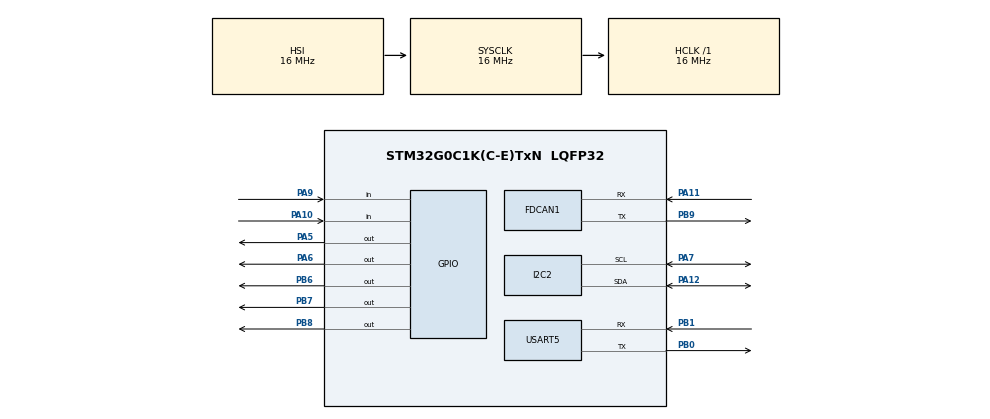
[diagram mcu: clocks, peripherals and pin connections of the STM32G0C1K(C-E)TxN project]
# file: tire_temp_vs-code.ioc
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FDCAN1.CalculateBaudRateNominal=1000000
FDCAN1.CalculateTimeBitNominal=1000
FDCAN1.CalculateTimeQuantumNominal=62.5
FDCAN1.NominalPrescaler=1
FDCAN1.NominalTimeSeg1=11
FDCAN1.NominalTimeSeg2=4
I2C2.Timing=0x00503D58
Mcu.Family=STM32G0
Mcu.Name=STM32G0C1K(C-E)TxN
Mcu.Package=LQFP32
NVIC.I2C2_3_IRQn=true\:0\:0\:false\:false\:true\:true\:true\:true
NVIC.TIM2_IRQn=true\:3\:0\:false\:false\:true\:false\:true\:true
NVIC.TimeBase=TIM2_IRQn
NVIC.TimeBaseIP=TIM2
PA10.Signal=GPIO_Input
PA11\ [PA9].Mode=FDCAN_Activate
PA11\ [PA9].Signal=FDCAN1_RX
PA12\ [PA10].GPIO_Pu=GPIO_PULLUP
PA12\ [PA10].Mode=I2C
PA12\ [PA10].Signal=I2C2_SDA
PA13.Mode=Serial_Wire
PA13.Signal=SYS_SWDIO
PA14-BOOT0.Mode=Serial_Wire
PA14-BOOT0.Signal=SYS_SWCLK
PA5.Signal=GPIO_Output
PA6.Signal=GPIO_Output
PA7.GPIO_Pu=GPIO_PULLUP
PA7.Mode=I2C
PA7.Signal=I2C2_SCL
PA9.Signal=GPIO_Input
PB0.Mode=Asynchronous
PB0.Signal=USART5_TX
PB1.Mode=Asynchronous
PB1.Signal=USART5_RX
PB6.Signal=GPIO_Output
PB7.Signal=GPIO_Output
PB8.Signal=GPIO_Output
PB9.Mode=FDCAN_Activate
PB9.Signal=FDCAN1_TX
PC14-OSC32_IN\ (PC14).Mode=LSE-External-Oscillator
PC14-OSC32_IN\ (PC14).Signal=RCC_OSC32_IN
PC15-OSC32_OUT\ (PC15).Mode=LSE-External-Oscillator
PC15-OSC32_OUT\ (PC15).Signal=RCC_OSC32_OUT
ProjectManager.HeapSize=0x200
ProjectManager.StackSize=0x400
ProjectManager.TargetToolchain=CMake
RCC.ADCFreq_Value=16000000
RCC.AHBFreq_Value=16000000
RCC.CortexFreq_Value=16000000
RCC.EXTERNAL_CLOCK_VALUE=48000
RCC.HCLKFreq_Value=16000000
RCC.HSE_VALUE=8000000
RCC.HSI48_VALUE=48000000
RCC.HSI_VALUE=16000000
RCC.SYSCLKFreq_VALUE=16000000
RCC.USBFreq_Value=48000000
RCC.VCOOutputFreq_Value=128000000
USART5.VirtualMode=VM_ASYNC
VP_LPTIM1_VS_LPTIM_counterModeInternalClock.Mode=Counts__internal_clock_event_00
VP_SYS_VS_DBSignals.Mode=DisableDeadBatterySignals
VP_SYS_VS_tim2.Mode=TIM2
VP_TIM1_VS_ClockSourceITR.Mode=TriggerSource_ITR0
board=custom

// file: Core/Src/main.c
/* USER CODE BEGIN Header */
/**
  ******************************************************************************
  * @file           : main.c
  * @brief          : Main program body
  ******************************************************************************
  * @attention
  *
  * Copyright (c) 2026 STMicroelectronics.
  * All rights reserved.
  *
  * This software is licensed under terms that can be found in the LICENSE file
  * in the root directory of this software component.
  * If no LICENSE file comes with this software, it is provided AS-IS.
  *
  ******************************************************************************
  */
/* USER CODE END Header */
#include "main.h"
#include "fdcan.h"
#include "i2c.h"
#include "lptim.h"
#include "stm32g0xx_hal_i2c.h"
#include "tim.h"
#include "usart.h"
#include "gpio.h"

/* USER CODE BEGIN Includes */
#include <math.h>
/* USER CODE END Includes */

/* USER CODE BEGIN PTD */
#include "MLX90621_API.h"
#include "MLX90621_I2C_Driver.h"

// Structure to hold values extracted from EEPROM
typedef struct {
    uint8_t VTH_L, VTH_H;
    uint8_t KT1_L, KT1_H;
    uint8_t KT2_L, KT2_H;
    uint8_t KT_scale; // Address 0xD2
} MLX_EEPROM_Ta_Coeffs;
/* USER CODE END PTD */

/* USER CODE BEGIN PD */
#define MLX_EEPROM_SA    0x50  // Slave Address for EEPROM
#define MLX_I2C_TIMEOUT  1000  // 1 second timeout
#define MLX_RAM_SA       (0x60 << 1) // Slave Address 0x60 shifted for HAL
#define CMD_READ_RAM     0x02
#define I2C_TIMEOUT      100

static const float emissivity = 0.98f;
static const float tr = 15.0f;

static uint8_t mlx90621ToAverage[8] = {0};
static uint8_t eeMLX90621[256]; // The 256-byte EEPROM dump array
static paramsMLX90621 mlx90621;
static uint16_t mlx90621Frame[66];
static float mlx90621To[64];
/* USER CODE END PD */

void SystemClock_Config(void);
/* USER CODE BEGIN PFP */
void Melexis_Initialize(void);
uint16_t MLX90621_ReadPTAT(void);
uint16_t MLX90621_ReadCompensationPixel(void);
void MLX90621_ReadWholeFrame(uint16_t* frameData);
int16_t CheckSign(uint16_t value, uint16_t bit_length);
float Calculate_Ta(uint16_t ptat_data, MLX_EEPROM_Ta_Coeffs *eeprom, uint8_t config_res);
/* USER CODE END PFP */

/* USER CODE BEGIN 0 */

// --- Sensor Initialization ---
void Melexis_Initialize(void)
{
    // Wait at least 5ms after POR release
    HAL_Delay(5);

    // 1. Read the whole EEPROM (SA = 0x50) using Mem_Read.
    // It's exactly 256 bytes, so no endianness swapping is needed for the raw dump.
    HAL_I2C_Mem_Read(&hi2c2, (uint16_t)(MLX_EEPROM_SA << 1), 0x00, I2C_MEMADD_SIZE_8BIT, eeMLX90621, 256, MLX_I2C_TIMEOUT);

    // 2. Write the oscillator trimming value (Command = 0x04, SA = 0x60)
    uint8_t trim_val = eeMLX90621[0xF7];
    uint8_t trim_payload[5];
    trim_payload[0] = 0x04;                        // Command
    trim_payload[1] = trim_val - 0xAA;             // LSByte check
    trim_payload[2] = trim_val;                    // LSByte
    trim_payload[3] = 0x00 - 0xAA;                 // MSByte check
    trim_payload[4] = 0x00;                        // MSByte

    HAL_I2C_Master_Transmit(&hi2c2, MLX_RAM_SA, trim_payload, 5, MLX_I2C_TIMEOUT);

    // 3. Write configuration register (Command = 0x03, SA = 0x60)
    uint8_t cfg_lsb = eeMLX90621[0xF5];
    uint8_t cfg_msb = eeMLX90621[0xF6];
    uint8_t cfg_payload[5];
    cfg_payload[0] = 0x03;                         // Command
    cfg_payload[1] = cfg_lsb - 0x55;               // LSByte check
    cfg_payload[2] = cfg_lsb;                      // LSbyte
    cfg_payload[3] = cfg_msb - 0x55;               // MSByte check
    cfg_payload[4] = cfg_msb;                      // MSbyte

    HAL_I2C_Master_Transmit(&hi2c2, MLX_RAM_SA, cfg_payload, 5, MLX_I2C_TIMEOUT);
}

// --- Read PTAT Data (Interrupt Mode with Repeated Start) ---
uint16_t MLX90621_ReadPTAT(void)
{
    uint8_t cmd[4] = {CMD_READ_RAM, 0x40, 0x00, 0x01};
    uint8_t rx_buf[2];

    // Wait until I2C bus is free
    while (HAL_I2C_GetState(&hi2c2) != HAL_I2C_STATE_READY);

    // Transmit command and KEEP the bus locked (No STOP condition)
    HAL_I2C_Master_Seq_Transmit_IT(&hi2c2, MLX_RAM_SA, cmd, 4, I2C_FIRST_FRAME);

    // Wait for the transmission to finish
    while (HAL_I2C_GetState(&hi2c2) != HAL_I2C_STATE_READY);

    // Repeated start, read data, and release the bus (STOP condition)
    HAL_I2C_Master_Seq_Receive_IT(&hi2c2, MLX_RAM_SA, rx_buf, 2, I2C_LAST_FRAME);

    // Wait for the reception to finish before processing the array
    while (HAL_I2C_GetState(&hi2c2) != HAL_I2C_STATE_READY);

    return (uint16_t)((rx_buf[1] << 8) | rx_buf[0]);
}

// --- Read Compensation Pixel Data (Interrupt Mode) ---
uint16_t MLX90621_ReadCompensationPixel(void)
{
    uint8_t cmd[4] = {CMD_READ_RAM, 0x41, 0x00, 0x01};
    uint8_t rx_buf[2];

    while (HAL_I2C_GetState(&hi2c2) != HAL_I2C_STATE_READY);
    HAL_I2C_Master_Seq_Transmit_IT(&hi2c2, MLX_RAM_SA, cmd, 4, I2C_FIRST_FRAME);

    while (HAL_I2C_GetState(&hi2c2) != HAL_I2C_STATE_READY);
    HAL_I2C_Master_Seq_Receive_IT(&hi2c2, MLX_RAM_SA, rx_buf, 2, I2C_LAST_FRAME);

    while (HAL_I2C_GetState(&hi2c2) != HAL_I2C_STATE_READY);

    return (uint16_t)((rx_buf[1] << 8) | rx_buf[0]);
}

// --- Read Whole IR Frame (Interrupt Mode) ---
void MLX90621_ReadWholeFrame(uint16_t* frameData)
{
    uint8_t cmd[4] = {CMD_READ_RAM, 0x00, 0x01, 0x40};
    uint8_t rx_buf[128]; // 64 pixels * 2 bytes each

    while (HAL_I2C_GetState(&hi2c2) != HAL_I2C_STATE_READY);
    HAL_I2C_Master_Seq_Transmit_IT(&hi2c2, MLX_RAM_SA, cmd, 4, I2C_FIRST_FRAME);

    while (HAL_I2C_GetState(&hi2c2) != HAL_I2C_STATE_READY);
    HAL_I2C_Master_Seq_Receive_IT(&hi2c2, MLX_RAM_SA, rx_buf, 128, I2C_LAST_FRAME);

    while (HAL_I2C_GetState(&hi2c2) != HAL_I2C_STATE_READY);

    for (int i = 0; i < 64; i++) {
        frameData[i] = (uint16_t)((rx_buf[i*2+1] << 8) | rx_buf[i*2]);
    }
}

// --- Check Sign for 2's Complement ---
int16_t CheckSign(uint16_t value, uint16_t bit_length) {
    uint16_t sign_bit = 1 << (bit_length - 1);
    if (value & sign_bit) {
        return (int16_t)(value - (1 << bit_length));
    }
    return (int16_t)value;
}

// --- Calculate Ta ---
float Calculate_Ta(uint16_t ptat_data, MLX_EEPROM_Ta_Coeffs *eeprom, uint8_t config_res)
{
    uint8_t kt1_scale_bits = (eeprom->KT_scale & 0xF0) >> 4;
    uint8_t kt2_scale_bits = (eeprom->KT_scale & 0x0F);

    int16_t vth_raw = (eeprom->VTH_H << 8) | eeprom->VTH_L;
    int16_t kt1_raw = (eeprom->KT1_H << 8) | eeprom->KT1_L;
    int16_t kt2_raw = (eeprom->KT2_H << 8) | eeprom->KT2_L;

    float vth_25 = (float)vth_raw;
    float kt1 = (float)kt1_raw;
    float kt2 = (float)kt2_raw;

    // Correctly scale resolution according to datasheet
    float res_scale = pow(2, 3 - config_res);

    vth_25 = vth_25 / res_scale;
    kt1 = kt1 / (pow(2, kt1_scale_bits) * res_scale);
    kt2 = kt2 / (pow(2, kt2_scale_bits + 10) * res_scale);

    float ptat = (float)ptat_data;

    float sqr_term = (kt1 * kt1) - (4.0f * kt2 * (vth_25 - ptat));
    float ta = (-kt1 + sqrt(sqr_term)) / (2.0f * kt2);
    ta += 25.0f;

    return ta;
}

void Calculate_To_All_Pixels(uint16_t *ir_frame_raw, float current_Ta, uint16_t comp_pixel_raw, uint8_t *eeprom, uint8_t config_res, float *pixel_temp_obj)
{
    // 1. Calculate Resolution Scale
    double res_scale = pow(2.0, 3.0 - config_res); //

    // 2. Extract and Process Common EEPROM Calibration Constants
    int16_t a_common_raw = (int16_t)((eeprom[0xD1] << 8) | eeprom[0xD0]); //

    int16_t a_cp_raw = (int16_t)((eeprom[0xD4] << 8) | eeprom[0xD3]); //
    double a_cp = (double)a_cp_raw / res_scale; //

    int8_t b_cp_raw = (int8_t)eeprom[0xD5]; //

    uint16_t alpha_cp_raw = (uint16_t)((eeprom[0xD7] << 8) | eeprom[0xD6]); //

    int8_t tgc_raw = (int8_t)eeprom[0xD8]; //
    double tgc = (double)tgc_raw / 32.0; //

    uint8_t delta_a_scale = (eeprom[0xD9] & 0xF0) >> 4; //
    uint8_t b_i_scale = eeprom[0xD9] & 0x0F; //

    uint16_t alpha_0_raw = (uint16_t)((eeprom[0xE1] << 8) | eeprom[0xE0]); //
    uint8_t alpha_0_scale = eeprom[0xE2]; //
    uint8_t delta_alpha_scale = eeprom[0xE3]; //

    uint16_t emissivity_raw = (uint16_t)((eeprom[0xE5] << 8) | eeprom[0xE4]); //
    double emissivity = (double)emissivity_raw / 32768.0; //

    int16_t k_sta_raw = (int16_t)((eeprom[0xE7] << 8) | eeprom[0xE6]); //
    double k_sta = (double)k_sta_raw / 1048576.0; // 2^20

    int8_t k_s4_raw = (int8_t)eeprom[0xC4]; //
    uint8_t k_s_scale = eeprom[0xC0] & 0x0F; //
    double k_s4 = (double)k_s4_raw / pow(2.0, (double)(k_s_scale + 8)); //

    // Pre-calculate Compensation Pixel components
    double b_cp = (double)b_cp_raw / (pow(2.0, (double)b_i_scale) * res_scale); //
    double alpha_cp = (double)alpha_cp_raw / (pow(2.0, (double)alpha_0_scale) * res_scale); //
    double ta_minus_25 = (double)current_Ta - 25.0; //

    // Calculate Compensation Pixel Offset (V_IRcp_OffsetCompensated)
    int16_t v_cp = (int16_t)comp_pixel_raw; //
    double v_ircp_offset_comp = (double)v_cp - (a_cp + b_cp * ta_minus_25); //

    // Pre-calculate Ta_K^4 (Ambient Temperature in Kelvin to the 4th power)
    double ta_k = (double)current_Ta + 273.15; //
    double ta_k4 = pow(ta_k, 4.0); //

    // 3. Iterate over all 64 Pixels
    for (int i = 0; i < 64; i++)
    {
        // Extract pixel-specific EEPROM data
        uint8_t delta_a_i = eeprom[i]; // Addresses 0x00 to 0x3F
        int8_t b_i_raw = (int8_t)eeprom[0x40 + i]; // Addresses 0x40 to 0x7F
        uint8_t delta_alpha_i = eeprom[0x80 + i]; // Addresses 0x80 to 0xBF

        int16_t v_ir = (int16_t)ir_frame_raw[i]; //

        // 3a. Calculate V_IR(i,j)_COMPENSATED
        double a_i = ((double)a_common_raw + (double)delta_a_i * pow(2.0, (double)delta_a_scale)) / res_scale; //
        double b_i = (double)b_i_raw / (pow(2.0, (double)b_i_scale) * res_scale); //

        double v_ir_offset_comp = (double)v_ir - (a_i + b_i * ta_minus_25); //
        double v_ir_tgc_comp = v_ir_offset_comp - tgc * v_ircp_offset_comp; //
        double v_ir_comp = v_ir_tgc_comp / emissivity; //

        // 3b. Calculate Alpha_comp(i,j)
        double alpha_i = (((double)alpha_0_raw / pow(2.0, (double)alpha_0_scale)) + ((double)delta_alpha_i / pow(2.0, (double)delta_alpha_scale))) / res_scale; //
        double alpha_comp = (1.0 + k_sta * ta_minus_25) * (alpha_i - tgc * alpha_cp); //

        // 3c. Calculate Object Temperature (T_o)
        double sx = k_s4 * pow(pow(alpha_comp, 3.0) * v_ir_comp + pow(alpha_comp, 4.0) * ta_k4, 0.25); // 4th root

        double to_k = pow(v_ir_comp / (alpha_comp * (1.0 - k_s4 * 273.15) + sx) + ta_k4, 0.25); // 4th root

        // Store the final Celsius value in the output array
        pixel_temp_obj[i] = (float)(to_k - 273.15); //
    }
}
static void Sort_Floats(float* arr, int n)
{
    for (int i = 0; i < n - 1; i++) {
        for (int j = 0; j < n - i - 1; j++) {
            if (arr[j] > arr[j+1]) {
                float temp = arr[j];
                arr[j] = arr[j+1];
                arr[j+1] = temp;
            }
        }
    }
}

// Helper function to calculate the median of a sorted array
static float Get_Median(float* arr, int n)
{
    if (n == 0) return 0.0f; // Failsafe

    if (n % 2 == 1) {
        return arr[n / 2];
    } else {
        return (arr[(n / 2) - 1] + arr[n / 2]) / 2.0f;
    }
}

/**
  * @brief Groups the 64-pixel array into 8 horizontal zones, computes the median,
  *        filters out cold anomalies, and returns the final median per zone.
  * @param pixel_temp_obj The input array of 64 calculated To (Object) temperatures.
  * @param horizontal_zones The output array of 8 median temperatures.
  */
void Process_Horizontal_Zones(float *pixel_temp_obj, float *horizontal_zones)
{
    // Iterate through the 8 horizontal zones
    for (int zone = 0; zone < 8; zone++)
    {
        float zone_temps[8];
        int count = 0;

        // 1. Extract the 8 pixels for this zone
        // Each zone covers 2 columns.
        // e.g., Zone 0 = Cols 0,1. Zone 1 = Cols 2,3.
        for (int col = zone * 2; col <= (zone * 2) + 1; col++)
        {
            for (int row = 0; row < 4; row++)
            {
                // MLX90621 RAM mapping: address = row + (column * 4)
                int index = row + (col * 4);
                zone_temps[count++] = pixel_temp_obj[index];
            }
        }

        // 2. Sort the array to find the initial median
        Sort_Floats(zone_temps, 8);
        float initial_median = Get_Median(zone_temps, 8);

        // 3. Filter out values less than 15 degrees below the median
        float filtered_temps[8];
        int filtered_count = 0;

        for (int i = 0; i < 8; i++)
        {
            if (zone_temps[i] >= (initial_median - 10.0f))
            {
                filtered_temps[filtered_count++] = zone_temps[i];
            }
        }

        // 4. Calculate the final median from the filtered values
        // Note: 'filtered_temps' is naturally already sorted because 'zone_temps' was sorted
        horizontal_zones[zone] = Get_Median(filtered_temps, filtered_count);
    }
}

/* USER CODE END 0 */

int main(void)
{
  /* USER CODE BEGIN 1 */
  uint8_t i = 0, ret;
  int dev = 0;
  uint16_t dev_id = 0;

  uint16_t ptat_raw;
  uint16_t comp_pixel_raw;
  uint16_t ir_frame_raw[64];

  float current_Ta;          // Absolute Chip Temperature
  float pixel_temp_obj[64];  // Final Object Temperatures (To)
  float horizontal_zones[8]; // Array to hold the 8 grouped median values

  MLX_EEPROM_Ta_Coeffs ta_coeffs;
  uint8_t sensor_resolution = 3; // Default 18-bit resolution (11b)
  /* USER CODE END 1 */

  /* MCU Configuration--------------------------------------------------------*/

  /* Reset of all peripherals, Initializes the Flash interface and the Systick. */
  HAL_Init();

  /* Configure the system clock */
  SystemClock_Config();

  /* Initialize all configured peripherals */
  MX_GPIO_Init();
  MX_FDCAN1_Init();
  MX_I2C2_Init();
  MX_LPTIM1_Init();
  MX_TIM1_Init();
  MX_USART5_UART_Init();

  /* USER CODE BEGIN 2 */
  // 1. I2C Device Scanner
  for(i=1; i<128; i++)
  {
      ret = HAL_I2C_IsDeviceReady(&hi2c2, (uint16_t)(i<<1), 3, 5);
      if (ret != HAL_OK)
      {
          /* No ACK Received At That Address */
      }
      else
      {
          dev++;
          dev_id = i;
      }
  }

  // 2. Initialize Melexis Sensor (EEPROM Read + Config Write)
  Melexis_Initialize();

  // 3. Extract Ta Coefficients from the EEPROM dump
  ta_coeffs.VTH_L    = eeMLX90621[0xDA];
  ta_coeffs.VTH_H    = eeMLX90621[0xDB];
  ta_coeffs.KT1_L    = eeMLX90621[0xDC];
  ta_coeffs.KT1_H    = eeMLX90621[0xDD];
  ta_coeffs.KT2_L    = eeMLX90621[0xDE];
  ta_coeffs.KT2_H    = eeMLX90621[0xDF];
  ta_coeffs.KT_scale = eeMLX90621[0xD2];
  /* USER CODE END 2 */

  /* Infinite loop */
  while (1)
  {

    /* USER CODE BEGIN 3 */
    // Read raw PTAT data
    ptat_raw = MLX90621_ReadPTAT();

    // Calculate Absolute Chip Temperature (Ta)
    current_Ta = Calculate_Ta(ptat_raw, &ta_coeffs, sensor_resolution);

    // Read the Compensation Pixel
    comp_pixel_raw = MLX90621_ReadCompensationPixel();

    // Read the 64 pixels of the IR frame
    MLX90621_ReadWholeFrame(ir_frame_raw);

   Calculate_To_All_Pixels(ir_frame_raw, current_Ta, comp_pixel_raw, eeMLX90621, sensor_resolution, pixel_temp_obj);

  // Group into 8 horizontal zones, apply median filter
    Process_Horizontal_Zones(pixel_temp_obj, horizontal_zones);

    HAL_Delay(1000);
  }
  /* USER CODE END 3 */
}

void SystemClock_Config(void)
{
  RCC_OscInitTypeDef RCC_OscInitStruct = {0};
  RCC_ClkInitTypeDef RCC_ClkInitStruct = {0};

  /** Configure the main internal regulator output voltage
  */
  HAL_PWREx_ControlVoltageScaling(PWR_REGULATOR_VOLTAGE_SCALE1);

  /** Initializes the RCC Oscillators according to the specified parameters
  * in the RCC_OscInitTypeDef structure.
  */
  RCC_OscInitStruct.OscillatorType = RCC_OSCILLATORTYPE_HSI;
  RCC_OscInitStruct.HSIState = RCC_HSI_ON;
  RCC_OscInitStruct.HSIDiv = RCC_HSI_DIV1;
  RCC_OscInitStruct.HSICalibrationValue = RCC_HSICALIBRATION_DEFAULT;
  RCC_OscInitStruct.PLL.PLLState = RCC_PLL_NONE;
  if (HAL_RCC_OscConfig(&RCC_OscInitStruct) != HAL_OK)
  {
    Error_Handler();
  }

  /** Initializes the CPU, AHB and APB buses clocks
  */
  RCC_ClkInitStruct.ClockType = RCC_CLOCKTYPE_HCLK|RCC_CLOCKTYPE_SYSCLK
                              |RCC_CLOCKTYPE_PCLK1;
  RCC_ClkInitStruct.SYSCLKSource = RCC_SYSCLKSOURCE_HSI;
  RCC_ClkInitStruct.AHBCLKDivider = RCC_SYSCLK_DIV1;
  RCC_ClkInitStruct.APB1CLKDivider = RCC_HCLK_DIV1;

  if (HAL_RCC_ClockConfig(&RCC_ClkInitStruct, FLASH_LATENCY_0) != HAL_OK)
  {
    Error_Handler();
  }
}

void HAL_TIM_PeriodElapsedCallback(TIM_HandleTypeDef *htim)
{
  if (htim->Instance == TIM2)
  {
    HAL_IncTick();
  }
}

void Error_Handler(void)
{
  __disable_irq();
  while (1)
  {
  }
}
